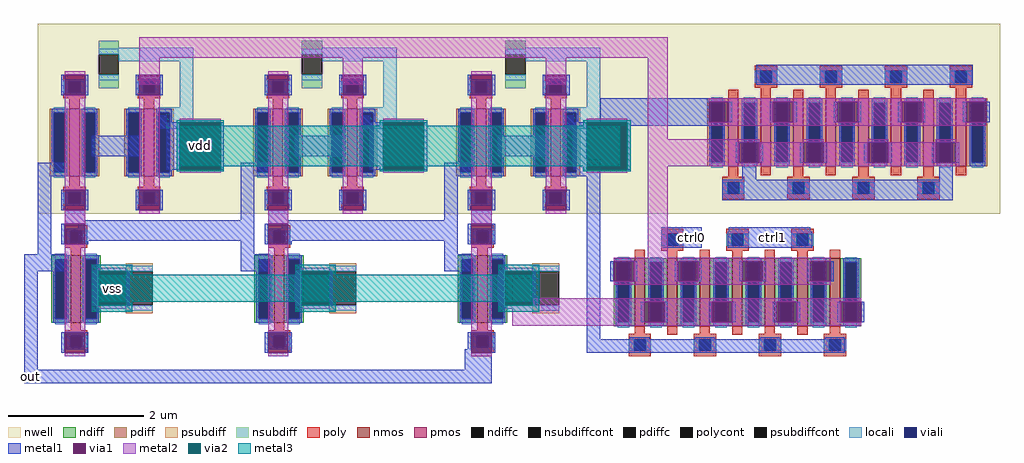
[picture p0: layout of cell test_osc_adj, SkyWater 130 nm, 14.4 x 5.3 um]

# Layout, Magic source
magic
tech sky130A
magscale 1 2
<< nwell >>
rect 20 420 2860 980
<< metal1 >>
rect 2140 800 2780 860
rect 1680 750 2040 760
rect 1680 690 2000 750
rect 2060 690 2070 750
rect 2180 690 2190 750
rect 2250 690 2260 750
rect 2370 690 2380 750
rect 2440 690 2450 750
rect 2560 690 2570 750
rect 2630 690 2640 750
rect 2750 690 2760 750
rect 2820 690 2830 750
rect 1680 680 2040 690
rect 2100 630 2140 640
rect 1640 550 1680 580
rect 2080 570 2090 630
rect 2150 570 2160 630
rect 2270 570 2280 630
rect 2340 570 2350 630
rect 2460 570 2470 630
rect 2530 570 2540 630
rect 2660 570 2670 630
rect 2730 570 2740 630
rect 1610 530 1680 550
rect 140 340 660 400
rect 740 340 1260 400
rect -20 -40 20 300
rect 1640 50 1680 530
rect 2100 520 2140 570
rect 2680 520 2720 570
rect 2040 460 2720 520
rect 1860 320 1980 380
rect 2060 320 2300 380
rect 1710 220 1720 280
rect 1780 220 1790 280
rect 1900 220 1910 280
rect 1970 220 1980 280
rect 2090 220 2100 280
rect 2160 220 2170 280
rect 2290 220 2300 280
rect 2360 220 2370 280
rect 1800 100 1810 160
rect 1870 100 1880 160
rect 2000 100 2010 160
rect 2070 100 2080 160
rect 2190 100 2200 160
rect 2260 100 2270 160
rect 2380 100 2390 160
rect 2450 100 2460 160
rect 1280 -40 1360 20
rect 1640 10 2390 50
rect -20 -80 1360 -40
<< via1 >>
rect 2000 690 2060 750
rect 2190 690 2250 750
rect 2380 690 2440 750
rect 2570 690 2630 750
rect 2760 690 2820 750
rect 2090 570 2150 630
rect 2280 570 2340 630
rect 2470 570 2530 630
rect 2670 570 2730 630
rect 1720 220 1780 280
rect 1910 220 1970 280
rect 2100 220 2160 280
rect 2300 220 2360 280
rect 1810 100 1870 160
rect 2010 100 2070 160
rect 2200 100 2260 160
rect 2390 100 2450 160
<< metal2 >>
rect 320 880 1880 940
rect 320 800 380 880
rect 920 800 980 880
rect 1520 800 1580 880
rect 1820 640 1880 880
rect 2000 750 2820 760
rect 2060 690 2190 750
rect 2250 690 2380 750
rect 2440 690 2570 750
rect 2630 690 2760 750
rect 2000 680 2820 690
rect 1820 630 2150 640
rect 2280 630 2340 640
rect 2470 630 2530 640
rect 2670 630 2730 640
rect 1820 570 2090 630
rect 2150 570 2280 630
rect 2340 570 2470 630
rect 2530 570 2670 630
rect 2730 570 2740 630
rect 1820 560 2740 570
rect 1820 290 1880 560
rect 1720 280 2360 290
rect 1420 170 1480 230
rect 1780 220 1910 280
rect 1970 220 2100 280
rect 2160 220 2300 280
rect 1720 210 2360 220
rect 1420 160 2450 170
rect 1420 100 1810 160
rect 1870 100 2010 160
rect 2070 100 2200 160
rect 2260 100 2390 160
rect 1420 90 2450 100
<< metal3 >>
rect 440 560 1740 680
rect 200 160 1480 240
use sky130_fd_pr__pfet_01v8_RXQGT8  sky130_fd_pr__pfet_01v8_RXQGT8_0
transform 1 0 2409 0 1 660
box -449 -200 449 200
use sky130_fd_pr__nfet_01v8_PE32AP  sky130_fd_pr__nfet_01v8_PE32AP_0
transform 1 0 2085 0 1 188
box -365 -188 365 188
use test_inverter_adj  test_inverter_adj_2
transform 1 0 700 0 1 290
box 520 -290 1070 680
use test_inverter_adj  test_inverter_adj_1
transform 1 0 100 0 1 290
box 520 -290 1070 680
use test_inverter_adj  test_inverter_adj_0
transform 1 0 -500 0 1 290
box 520 -290 1070 680
<< labels >>
rlabel metal3 480 600 520 640 1 vdd
port 2 n power bidirectional
rlabel metal3 220 180 260 220 1 vss
port 3 n ground bidirectional
rlabel metal1 1920 320 1980 380 1 ctrl0
port 4 n
rlabel metal1 2160 320 2220 380 1 ctrl1
port 5 n
rlabel metal1 -20 -80 20 -40 1 out
port 6 n
<< end >>

# cell sky130_fd_pr__pfet_01v8_RXQGT8: kit device sky130_fd_pr__pfet_01v8, w 1 l 0.15 m 1 nf 8 diffcov 100 polycov 100 guard 0 glc 0 grc 0 gtc 0 gbc 0 tbcov 100 rlcov 100 topc 1 botc 1 poverlap 0 doverlap 1 lmin 0.15 wmin 0.42 compatible {sky130_fd_pr__pfet_01v8 sky130_fd_pr__pfet_01v8_lvt sky130_fd_pr__pfet_01v8_hvt sky130_fd_pr__pfet_g5v0d10v5} full_metal 0 viagl 0 viagr 0 viagt 0 viagb 0 viagate 100 viadrn 100 viasrc 100

# cell sky130_fd_pr__nfet_01v8_PE32AP: kit device sky130_fd_pr__nfet_01v8, w 1.0 l 0.150 m 1 nf 7 diffcov 100 polycov 100 guard 0 glc 0 grc 0 gtc 0 gbc 0 tbcov 100 rlcov 100 topc 1 botc 1 poverlap 0 doverlap 1 lmin 0.15 wmin 0.42 compatible {sky130_fd_pr__nfet_01v8 sky130_fd_pr__nfet_01v8_lvt sky130_fd_bs_flash__special_sonosfet_star sky130_fd_pr__nfet_g5v0d10v5 sky130_fd_pr__nfet_05v0_nvt} full_metal 0 viasrc 100 viadrn 100 viagate 100 viagb 0 viagr 0 viagl 0 viagt 0

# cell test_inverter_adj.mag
magic
tech sky130A
magscale 1 2
<< nwell >>
rect 520 540 960 680
rect 720 140 740 540
rect 940 140 960 540
<< psubdiff >>
rect 780 -40 860 -16
rect 780 -164 860 -140
<< nsubdiff >>
rect 700 600 760 640
rect 700 500 760 540
<< psubdiffcont >>
rect 780 -140 860 -40
<< nsubdiffcont >>
rect 700 540 760 600
<< locali >>
rect 760 616 980 620
rect 700 600 980 616
rect 760 580 980 600
rect 700 524 760 540
rect 940 444 980 580
rect 906 440 980 444
rect 900 380 980 440
rect 780 -40 860 -24
rect 680 -140 780 -40
rect 780 -156 860 -140
<< metal1 >>
rect 590 480 600 540
rect 660 480 670 540
rect 810 480 820 540
rect 880 480 890 540
rect 880 400 900 420
rect 880 380 940 400
rect 680 300 820 360
rect 520 240 600 280
rect 900 260 940 380
rect 1060 260 1070 400
rect 520 10 560 240
rect 590 140 600 200
rect 660 140 670 200
rect 810 140 820 200
rect 880 140 890 200
rect 600 100 660 140
rect 590 40 600 100
rect 660 40 670 100
rect 520 -40 600 10
rect 680 -140 700 -40
rect 780 -140 790 -40
rect 590 -280 600 -220
rect 660 -280 670 -220
<< via1 >>
rect 600 480 660 540
rect 820 480 880 540
rect 940 260 1060 400
rect 600 140 660 200
rect 820 140 880 200
rect 600 40 660 100
rect 700 -140 780 -40
rect 600 -280 660 -220
<< metal2 >>
rect 600 540 660 550
rect 600 200 660 480
rect 600 100 660 140
rect 820 540 880 550
rect 820 200 880 480
rect 940 400 1060 410
rect 940 250 1060 260
rect 820 130 880 140
rect 600 -220 660 40
rect 700 -40 780 -30
rect 700 -150 780 -140
rect 600 -290 660 -280
<< via2 >>
rect 940 260 1060 400
rect 700 -140 780 -40
<< metal3 >>
rect 930 400 1070 405
rect 930 260 940 400
rect 1060 260 1070 400
rect 930 255 1070 260
rect 680 -40 800 -20
rect 680 -140 700 -40
rect 780 -140 800 -40
rect 680 -160 800 -140
use sky130_fd_pr__nfet_01v8_DM32AP  sky130_fd_pr__nfet_01v8_DM32AP_0
transform 1 0 633 0 1 -92
box -73 -188 73 188
use sky130_fd_pr__pfet_01v8_CW6TWB  sky130_fd_pr__pfet_01v8_CW6TWB_1
transform 1 0 849 0 1 340
box -109 -200 109 200
use sky130_fd_pr__pfet_01v8_CW6TWB  sky130_fd_pr__pfet_01v8_CW6TWB_0
transform 1 0 629 0 1 340
box -109 -200 109 200
<< labels >>
rlabel metal1 520 100 560 140 1 out
rlabel space 880 340 920 380 1 vdd
rlabel via1 820 140 880 200 1 ctrl
rlabel metal2 600 100 660 140 1 in
rlabel space 660 -120 700 -80 1 vss
<< end >>

# cell sky130_fd_pr__nfet_01v8_DM32AP: kit device sky130_fd_pr__nfet_01v8, w 1.0 l 0.150 m 1 nf 1 diffcov 100 polycov 100 guard 0 glc 0 grc 0 gtc 0 gbc 0 tbcov 100 rlcov 100 topc 1 botc 1 poverlap 0 doverlap 1 lmin 0.15 wmin 0.42 compatible {sky130_fd_pr__nfet_01v8 sky130_fd_pr__nfet_01v8_lvt sky130_fd_bs_flash__special_sonosfet_star sky130_fd_pr__nfet_g5v0d10v5 sky130_fd_pr__nfet_05v0_nvt} full_metal 0 viasrc 100 viadrn 100 viagate 100 viagb 0 viagr 0 viagl 0 viagt 0

# cell sky130_fd_pr__pfet_01v8_CW6TWB: kit device sky130_fd_pr__pfet_01v8, w 1.0 l 0.15 m 1 nf 1 diffcov 100 polycov 100 guard 0 glc 0 grc 0 gtc 0 gbc 0 tbcov 100 rlcov 100 topc 1 botc 1 poverlap 0 doverlap 1 lmin 0.15 wmin 0.42 compatible {sky130_fd_pr__pfet_01v8 sky130_fd_pr__pfet_01v8_lvt sky130_fd_pr__pfet_01v8_hvt sky130_fd_pr__pfet_g5v0d10v5} full_metal 0 viagl 0 viagr 0 viagt 0 viagb 0 viagate 100 viadrn 100 viasrc 100
